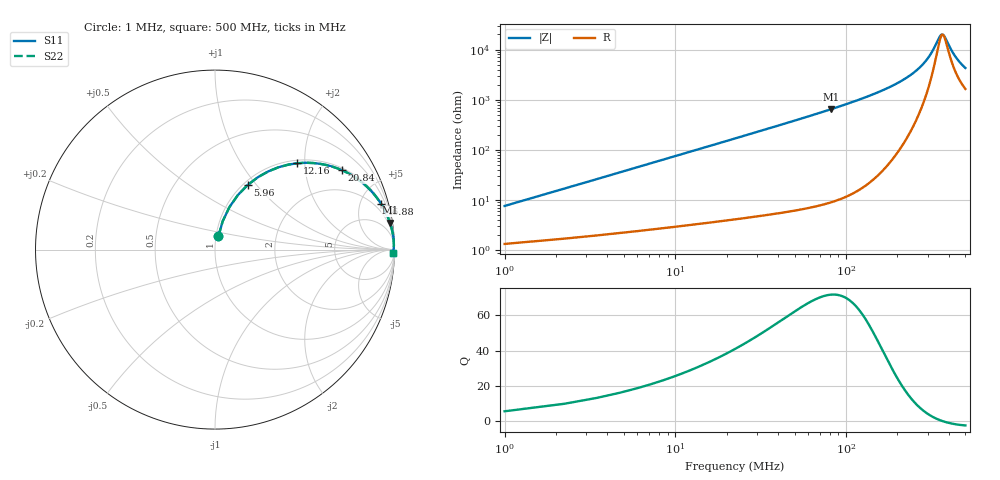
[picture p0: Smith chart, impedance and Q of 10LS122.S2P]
! Coilcraft 1008LS-122 Chip Inductor
! 5 August 2002
# MHZ S MA R 50
!Freq  MagS11  AngS11  MagS21  AngS21  MagS12  AngS12  MagS22  AngS22
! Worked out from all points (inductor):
!   404 points, 1 MHz to 500 MHz, reference 50 ohm
!   read as one part in series: L = 1.2 uH near 3.48 MHz
!   highest Q = 71.7 at 81.6 MHz (marker M1), where L = 1.26 uH
!   self-resonance near 368.8 MHz
!   S11 on the Smith chart (normalised r, x): 1 MHz: 1.03, +0.15; 5.96 MHz: 1.05, +0.90; 12.16 MHz: 1.06, +1.84; 20.84 MHz: 1.08, +3.15; 46.88 MHz: 1.12, +7.19; 500 MHz: 34, -79
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1  0.07536 75.7  0.984 -4.3  0.984 -4.3  0.07536 75.7
4.72  0.3295 67.2  0.924 -19.2  0.924 -19.2  0.3295 67.2
5.96  0.4025 63.2  0.8941 -23.7  0.8941 -23.7  0.4025 63.2
8.44  0.5272 55.7  0.8273 -31.8  0.8273 -31.8  0.5272 55.7
12.16  0.665 46.4  0.7241 -41.7  0.7241 -41.7  0.665 46.4
15.88  0.7573 39.1  0.631 -49.2  0.631 -49.2  0.7573 39.1
20.84  0.835 32.0  0.5295 -56.6  0.5295 -56.6  0.835 32.0
25.8  0.8823 26.8  0.4512 -61.9  0.4512 -61.9  0.8823 26.8
32  0.9184 22.2  0.3777 -66.7  0.3777 -66.7  0.9184 22.2
46.88  0.9593 15.5  0.2669 -73.6  0.2669 -73.6  0.9593 15.5
81.6  0.9862 8.8  0.1523 -80.4  0.1523 -80.4  0.9862 8.8
85.32  0.9874 8.3  0.1451 -80.9  0.1451 -80.9  0.9874 8.3
168.4  0.9964 3.5  0.0619 -84.9  0.0619 -84.9  0.9964 3.5
251.48  0.997 1.6  0.02802 -83.1  0.02802 -83.1  0.997 1.6
297.36  0.9965 0.9  0.01575 -76.6  0.01575 -76.6  0.9965 0.9
334.56  0.9958 0.4  0.008072 -58.2  0.008072 -58.2  0.9958 0.4
355.64  0.9953 0.1  0.005349 -28.5  0.005349 -28.5  0.9953 0.1
368.04  0.995 0.0  0.005 -1.7  0.005 -1.7  0.995 0.0
379.2  0.9947 -0.1  0.005626 20.1  0.005626 20.1  0.9947 -0.1
417.64  0.9937 -0.5  0.01075 53.5  0.01075 53.5  0.9937 -0.5
454.84  0.9925 -0.8  0.01642 62.4  0.01642 62.4  0.9925 -0.8
500  0.9909 -1.2  0.02306 66.3  0.02306 66.3  0.9909 -1.2
